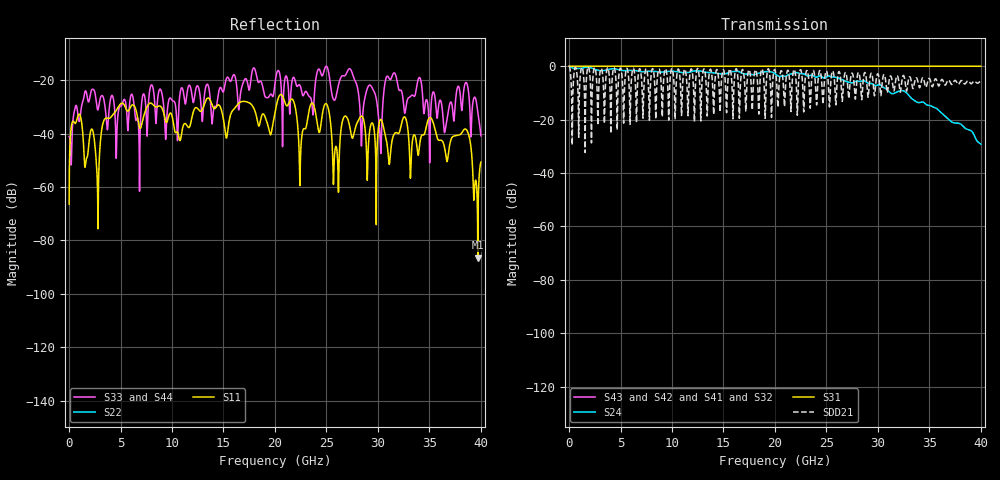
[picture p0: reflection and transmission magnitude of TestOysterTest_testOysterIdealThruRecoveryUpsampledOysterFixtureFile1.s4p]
# MHz MA S R 50.0
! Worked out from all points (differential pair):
!   8000 points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, 5 MHz to 40 GHz, reference 50 ohm
!   strongest paths, dB at 5 MHz, 10.01 GHz, 20 GHz, 30 GHz, 40 GHz:
!     S31: 0.0, 0.0, 0.0, 0.0, 0.0
!     S24: 0.0, -1.9, -2.8, -7.0, -29.1
!     S43: -, -, -, -, -
!     S42: -, -, -, -, -
!     S41: -, -, -, -, -
!     S32: -, -, -, -, -
!   taken as a pair (ports 1,4 in; 3,2 out), SDD21 dB: 0.0, -0.9, -1.4, -2.9, -5.7
!   lowest |S11| = -86.6 dB at 39.7 GHz (marker M1), VSWR 1.00, Z = 50 - j0.00102 ohm
!   |S11| at or under -10 dB: start of sweep to end of sweep
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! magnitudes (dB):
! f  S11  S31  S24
! 5 MHz  -66.5  0.0  0.0
! 950 MHz  -32.8  0.0  -0.8
! 2.77 GHz  -62.2  0.0  -1.4
! 20.57 GHz  -25.4  0.0  -3.7
! 38.52 GHz  -38.4  0.0  -23.3
! 39.7 GHz  -86.6  0.0  -28.3
! 40 GHz  -50.7  0.0  -29.1
